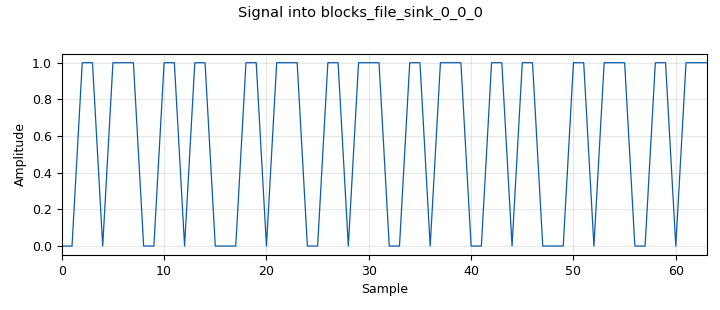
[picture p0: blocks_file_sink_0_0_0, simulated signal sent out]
options:
  parameters:
    generate_options: qt_gui
    id: Generate_BB
    output_language: python
    title: Not titled yet
  states: {}

blocks:
- name: samp_rate
  id: variable
  parameters:
    value: '5000000'
  states: {}
- name: analog_random_source_x_0
  id: analog_random_source_x
  parameters:
    max: '56'
    min: '54'
    num_samps: '4'
    repeat: 'True'
    type: byte
  states: {}
- name: blocks_file_sink_0_0_0
  id: blocks_file_sink
  parameters:
    file: gr-HighDataRate_Modem/examples/QPSK_Generate_Modulator_Files/BBFileModQPSK_64ASM
    type: byte
  states: {}
- name: blocks_head_0_0
  id: blocks_head
  parameters:
    num_items: '200000000'
    type: byte
  states: {}
- name: blocks_repack_bits_bb_0_0
  id: blocks_repack_bits_bb
  parameters:
    endianness: gr.GR_LSB_FIRST
    k: '8'
    l: '1'
    len_tag_key: packet_len
  states: {}
- name: blocks_repack_bits_bb_0_0_0
  id: blocks_repack_bits_bb
  parameters:
    endianness: gr.GR_MSB_FIRST
    k: '8'
    l: '1'
    len_tag_key: packet_len
  states: {}
- name: blocks_stream_to_tagged_stream_0
  id: blocks_stream_to_tagged_stream
  parameters:
    len_tag_key: '"packet_len"'
    packet_len: '512'
    type: byte
  states: {}
- name: blocks_tagged_stream_mux_0
  id: blocks_tagged_stream_mux
  parameters:
    lengthtagname: '"packet_len"'
    ninputs: '2'
    tag_preserve_head_pos: '1'
    type: byte
  states: {}
- name: blocks_throttle_0_0_0
  id: blocks_throttle
  parameters:
    samples_per_second: samp_rate
    type: byte
  states: {}
- name: digital_protocol_formatter_bb_0
  id: digital_protocol_formatter_bb
  parameters:
    format: hdr_format_0
    len_tag_key: packet_len
  states: {}
- name: hdr_format_0
  id: parameter
  parameters:
    label: Header Formatter
    value: digital.header_format_counter(digital.packet_utils.default_access_code,0,1)
  states: {}

connections:
- [analog_random_source_x_0, '0', blocks_stream_to_tagged_stream_0, '0']
- [blocks_head_0_0, '0', blocks_file_sink_0_0_0, '0']
- [blocks_repack_bits_bb_0_0, '0', blocks_tagged_stream_mux_0, '1']
- [blocks_repack_bits_bb_0_0_0, '0', blocks_tagged_stream_mux_0, '0']
- [blocks_stream_to_tagged_stream_0, '0', blocks_repack_bits_bb_0_0_0, '0']
- [blocks_stream_to_tagged_stream_0, '0', digital_protocol_formatter_bb_0, '0']
- [blocks_tagged_stream_mux_0, '0', blocks_throttle_0_0_0, '0']
- [blocks_throttle_0_0_0, '0', blocks_head_0_0, '0']
- [digital_protocol_formatter_bb_0, '0', blocks_repack_bits_bb_0_0, '0']

metadata:
  file_format: 1
